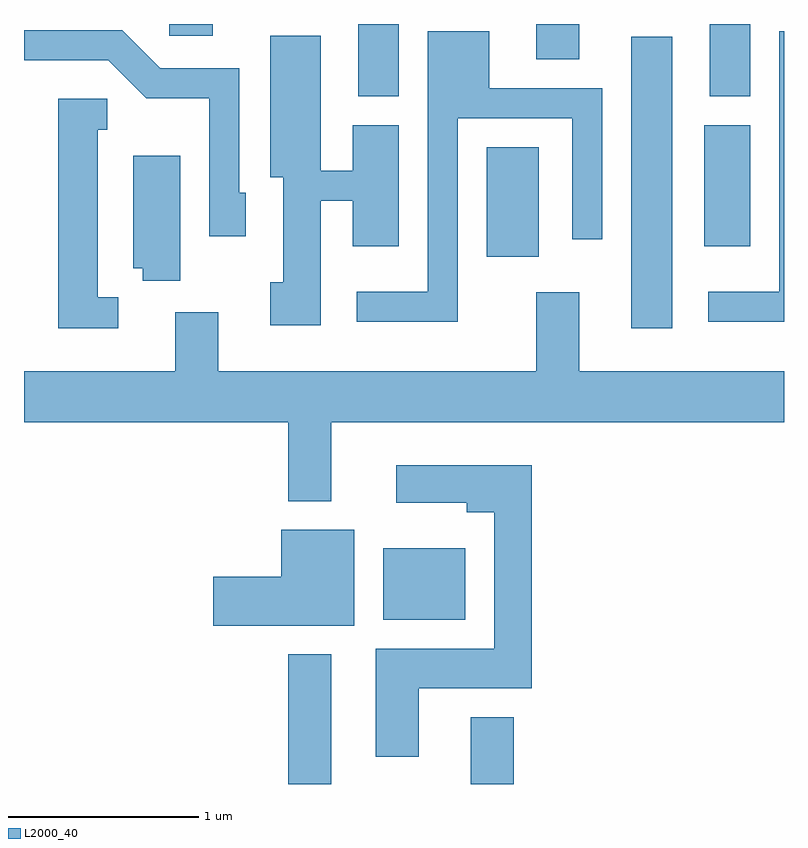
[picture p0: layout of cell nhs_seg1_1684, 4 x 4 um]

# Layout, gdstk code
import gdstk
lib = gdstk.Library(unit=1e-6, precision=1e-09)
def R(c, l, rs):  # rectangles x0, y0, x1, y1
    for r in rs: c.add(gdstk.rectangle(r[:2], r[2:], *l))
def P(c, l, *ps):  # polygons
    for p in ps: c.add(gdstk.Polygon(p, *l))
L2000_40 = (2000, 40)

nhs_seg1_1684 = lib.new_cell('nhs_seg1_1684')
R(nhs_seg1_1684, L2000_40, [(239.001,857.712,239.229,858.394), (239.961,857.712,240.189,858.064), (239.501,858.576,239.934,858.954), (240.806,860.111,241.024,861.644), (240.046,860.486,240.319,861.064), (241.191,860.541,241.434,861.179), (239.371,861.331,239.584,861.712), (241.221,861.331,241.434,861.712), (240.306,861.526,240.534,861.712), (238.376,861.651,238.604,861.712)])
P(nhs_seg1_1684, L2000_40, [(238.779,860.824),(238.744,860.824),(238.744,861.479),(238.327,861.479),(238.127,861.679),(237.611,861.679),(237.611,861.521),(238.054,861.521),(238.254,861.321),(238.586,861.321),(238.586,860.596),(238.779,860.596)],
  [(241.611,861.674),(241.586,861.674),(241.586,860.304),(241.213,860.304),(241.213,860.146),(241.611,860.146)],
  [(239.894,861.216),(240.496,861.216),(240.496,860.578),(240.654,860.578),(240.654,861.374),(240.059,861.374),(240.059,861.674),(239.736,861.674),(239.736,860.304),(239.363,860.304),(239.363,860.146),(239.894,860.146)],
  [(239.174,860.781),(239.341,860.781),(239.341,860.541),(239.584,860.541),(239.584,861.179),(239.341,861.179),(239.341,860.939),(239.174,860.939),(239.174,861.649),(238.906,861.649),(238.906,860.906),(238.976,860.906),(238.976,860.354),(238.906,860.354),(238.906,860.126),(239.174,860.126)],
  [(238.108,860.274),(237.999,860.274),(237.999,861.156),(238.048,861.156),(238.048,861.319),(237.791,861.319),(237.791,860.111),(238.108,860.111)],
  [(238.434,861.019),(238.186,861.019),(238.186,860.426),(238.236,860.426),(238.236,860.361),(238.434,860.361)],
  [(238.406,860.194),(238.406,859.884),(237.611,859.884),(237.611,859.616),(239.001,859.616),(239.001,859.201),(239.229,859.201),(239.229,859.616),(241.611,859.616),(241.611,859.884),(240.534,859.884),(240.534,860.299),(240.306,860.299),(240.306,859.884),(238.634,859.884),(238.634,860.194)],
  [(239.689,858.216),(240.284,858.216),(240.284,859.389),(239.571,859.389),(239.571,859.191),(239.941,859.191),(239.941,859.141),(240.086,859.141),(240.086,858.424),(239.461,858.424),(239.461,857.856),(239.689,857.856)],
  [(239.349,859.049),(238.966,859.049),(238.966,858.804),(238.606,858.804),(238.606,858.546),(239.349,858.546)])

lib.write_gds('nhs_seg1_1684.gds')
